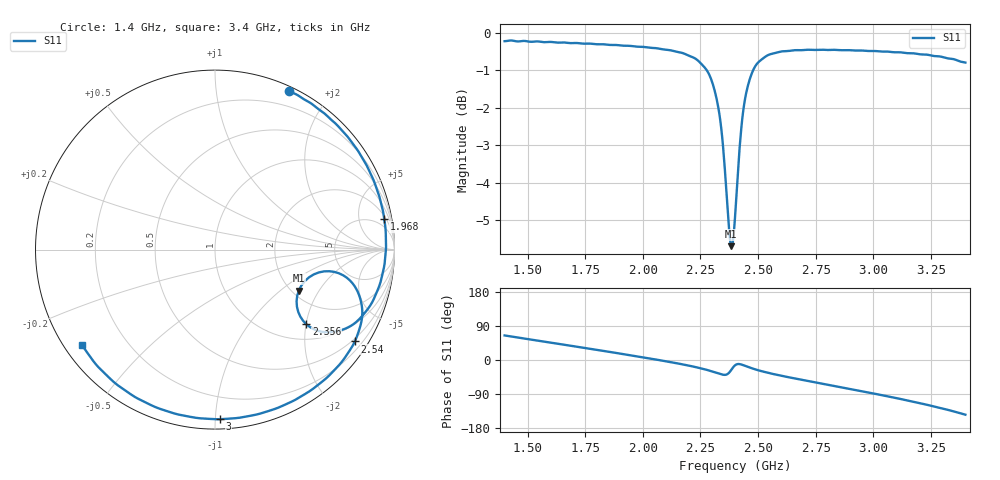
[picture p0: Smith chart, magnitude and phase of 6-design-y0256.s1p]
#  Hz  S  RI  R  50
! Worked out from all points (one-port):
!   501 points, 1.4 GHz to 3.4 GHz, reference 50 ohm
!   lowest |S11| = -5.7 dB at 2.384 GHz (marker M1), VSWR 3.16, Z = 109 - j67.8 ohm
!   |S11| at or under -10 dB: nowhere
!   S11 on the Smith chart (normalised r, x): 1.4 GHz: 0.05, +1.58; 1.968 GHz: 3, +10; 2.356 GHz: 1.37, -2.01; 2.54 GHz: 0.42, -3.30; 3 GHz: 0.06, -1.03; 3.4 GHz: 0.05, -0.32
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1.4e9  0.4149 0.8812
1.532e9  0.595 0.7699
1.652e9  0.7334 0.6352
1.776e9  0.845 0.4692
1.9e9  0.9195 0.2816
1.968e9  0.9427 0.1715
2.06e9  0.953 0.015
2.152e9  0.9301 -0.1495
2.224e9  0.8793 -0.2864
2.28e9  0.7956 -0.3955
2.328e9  0.6466 -0.4598
2.344e9  0.5706 -0.4516
2.356e9  0.509 -0.4159
2.372e9  0.4566 -0.3187
2.384e9  0.467 -0.228
2.4e9  0.5503 -0.1382
2.42e9  0.69 -0.1318
2.436e9  0.7654 -0.1867
2.452e9  0.8017 -0.251
2.484e9  0.8204 -0.3648
2.54e9  0.7793 -0.5114
2.652e9  0.6358 -0.7018
2.776e9  0.4418 -0.8398
2.9e9  0.2211 -0.9211
3e9  0.0292 -0.9448
3.152e9  -0.2772 -0.8968
3.28e9  -0.5318 -0.7629
3.4e9  -0.7408 -0.5322
